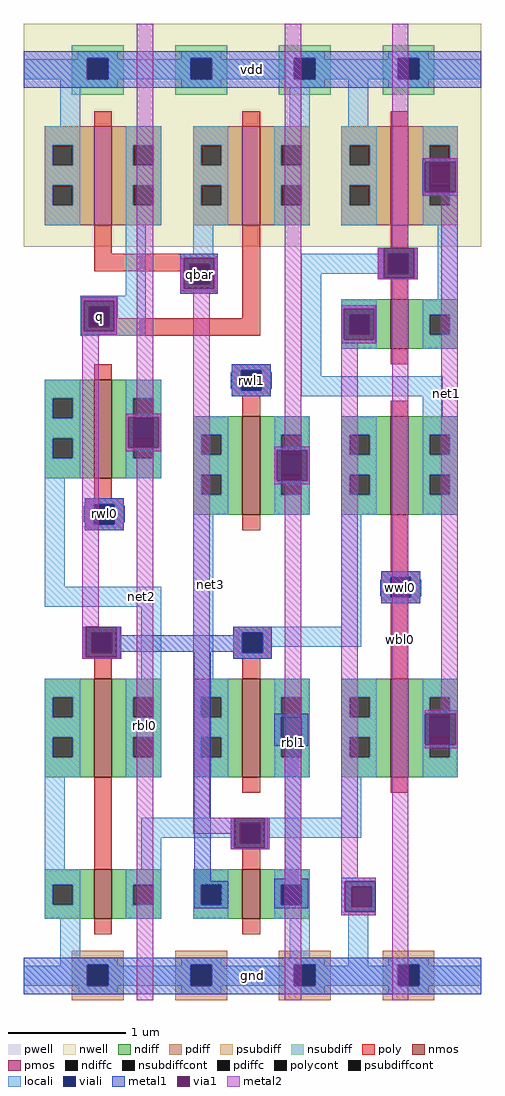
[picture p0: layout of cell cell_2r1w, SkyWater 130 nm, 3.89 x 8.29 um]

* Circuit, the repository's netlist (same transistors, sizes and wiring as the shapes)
* SPICE3 file created from cell_fast.ext - technology: sky130A

.subckt cell_2r1w rbl0 rbl1 wbl0 rwl0 rwl1 wwl0 vdd gnd
X0 rbl1 rwl1 net3 gnd sky130_fd_pr__nfet_01v8 w=0.84 l=0.15
X1 net2 q gnd gnd sky130_fd_pr__nfet_01v8 w=0.84 l=0.15
X2 q q_bar vdd vdd sky130_fd_pr__pfet_01v8 w=0.84 l=0.15
X3 q_bar q gnd gnd sky130_fd_pr__nfet_01v8 w=0.42 l=0.15
X4 rbl0 rwl0 net2 gnd sky130_fd_pr__nfet_01v8 w=0.84 l=0.15
X5 gnd q net3 gnd sky130_fd_pr__nfet_01v8 w=0.84 l=0.15
X6 vdd q q_bar vdd sky130_fd_pr__pfet_01v8 w=0.84 l=0.15
X7 gnd q_bar q gnd sky130_fd_pr__nfet_01v8 w=0.42 l=0.15
X8 net1 wbl0 gnd gnd sky130_fd_pr__nfet_01v8 w=0.42 l=0.15
X9 wbl0 wwl0 q gnd sky130_fd_pr__nfet_01v8 w=0.84 l=0.15
X10 net1 wwl0 q_bar gnd sky130_fd_pr__nfet_01v8 w=0.84 l=0.15
X11 net1 wbl0 vdd vdd sky130_fd_pr__pfet_01v8 w=0.84 l=0.15
.ends

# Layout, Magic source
magic
tech sky130A
<< nwell >>
rect 0 619 389 808
<< pwell >>
rect 41 -21 85 21
rect 129 -21 173 21
rect 217 -21 261 21
rect 305 -21 349 21
<< nmos >>
rect 312 532 327 574
rect 60 422 75 506
rect 186 391 201 475
rect 312 391 327 475
rect 60 168 75 252
rect 186 168 201 252
rect 312 168 327 252
rect 60 48 75 90
rect 186 48 201 90
<< pmos >>
rect 60 637 75 721
rect 186 637 201 721
rect 312 637 327 721
<< ndiff >>
rect 270 561 312 574
rect 270 544 277 561
rect 294 544 312 561
rect 270 532 312 544
rect 327 561 369 574
rect 327 544 345 561
rect 362 544 369 561
rect 327 532 369 544
rect 18 490 60 506
rect 18 473 25 490
rect 42 473 60 490
rect 18 456 60 473
rect 18 439 25 456
rect 42 439 60 456
rect 18 422 60 439
rect 75 490 117 506
rect 75 473 93 490
rect 110 473 117 490
rect 75 456 117 473
rect 75 439 93 456
rect 110 439 117 456
rect 75 422 117 439
rect 144 459 186 475
rect 144 442 151 459
rect 168 442 186 459
rect 144 425 186 442
rect 144 408 151 425
rect 168 408 186 425
rect 144 391 186 408
rect 201 459 243 475
rect 201 442 219 459
rect 236 442 243 459
rect 201 425 243 442
rect 201 408 219 425
rect 236 408 243 425
rect 201 391 243 408
rect 270 459 312 475
rect 270 442 277 459
rect 294 442 312 459
rect 270 425 312 442
rect 270 408 277 425
rect 294 408 312 425
rect 270 391 312 408
rect 327 459 369 475
rect 327 442 345 459
rect 362 442 369 459
rect 327 425 369 442
rect 327 408 345 425
rect 362 408 369 425
rect 327 391 369 408
rect 18 236 60 252
rect 18 219 25 236
rect 42 219 60 236
rect 18 202 60 219
rect 18 185 25 202
rect 42 185 60 202
rect 18 168 60 185
rect 75 236 117 252
rect 75 219 93 236
rect 110 219 117 236
rect 75 202 117 219
rect 75 185 93 202
rect 110 185 117 202
rect 75 168 117 185
rect 144 236 186 252
rect 144 219 151 236
rect 168 219 186 236
rect 144 202 186 219
rect 144 185 151 202
rect 168 185 186 202
rect 144 168 186 185
rect 201 236 243 252
rect 201 219 219 236
rect 236 219 243 236
rect 201 202 243 219
rect 201 185 219 202
rect 236 185 243 202
rect 201 168 243 185
rect 270 236 312 252
rect 270 219 277 236
rect 294 219 312 236
rect 270 202 312 219
rect 270 185 277 202
rect 294 185 312 202
rect 270 168 312 185
rect 327 236 369 252
rect 327 219 345 236
rect 362 219 369 236
rect 327 202 369 219
rect 327 185 345 202
rect 362 185 369 202
rect 327 168 369 185
rect 18 77 60 90
rect 18 60 25 77
rect 42 60 60 77
rect 18 48 60 60
rect 75 77 117 90
rect 75 60 93 77
rect 110 60 117 77
rect 75 48 117 60
rect 144 77 186 90
rect 144 60 151 77
rect 168 60 186 77
rect 144 48 186 60
rect 201 77 243 90
rect 201 60 219 77
rect 236 60 243 77
rect 201 48 243 60
<< pdiff >>
rect 18 705 60 721
rect 18 688 25 705
rect 42 688 60 705
rect 18 671 60 688
rect 18 654 25 671
rect 42 654 60 671
rect 18 637 60 654
rect 75 705 117 721
rect 75 688 93 705
rect 110 688 117 705
rect 75 671 117 688
rect 75 654 93 671
rect 110 654 117 671
rect 75 637 117 654
rect 144 705 186 721
rect 144 688 151 705
rect 168 688 186 705
rect 144 671 186 688
rect 144 654 151 671
rect 168 654 186 671
rect 144 637 186 654
rect 201 705 243 721
rect 201 688 219 705
rect 236 688 243 705
rect 201 671 243 688
rect 201 654 219 671
rect 236 654 243 671
rect 201 637 243 654
rect 270 705 312 721
rect 270 688 277 705
rect 294 688 312 705
rect 270 671 312 688
rect 270 654 277 671
rect 294 654 312 671
rect 270 637 312 654
rect 327 705 369 721
rect 327 688 345 705
rect 362 688 369 705
rect 327 671 369 688
rect 327 654 345 671
rect 362 654 369 671
rect 327 637 369 654
<< ndiffc >>
rect 277 544 294 561
rect 345 544 362 561
rect 25 473 42 490
rect 25 439 42 456
rect 93 473 110 490
rect 93 439 110 456
rect 151 442 168 459
rect 151 408 168 425
rect 219 442 236 459
rect 219 408 236 425
rect 277 442 294 459
rect 277 408 294 425
rect 345 442 362 459
rect 345 408 362 425
rect 25 219 42 236
rect 25 185 42 202
rect 93 219 110 236
rect 93 185 110 202
rect 151 219 168 236
rect 151 185 168 202
rect 219 219 236 236
rect 219 185 236 202
rect 277 219 294 236
rect 277 185 294 202
rect 345 219 362 236
rect 345 185 362 202
rect 25 60 42 77
rect 93 60 110 77
rect 151 60 168 77
rect 219 60 236 77
<< pdiffc >>
rect 25 688 42 705
rect 25 654 42 671
rect 93 688 110 705
rect 93 654 110 671
rect 151 688 168 705
rect 151 654 168 671
rect 219 688 236 705
rect 219 654 236 671
rect 277 688 294 705
rect 277 654 294 671
rect 345 688 362 705
rect 345 654 362 671
<< psubdiff >>
rect 41 9 85 21
rect 41 -9 54 9
rect 72 -9 85 9
rect 41 -21 85 -9
rect 129 9 173 21
rect 129 -9 142 9
rect 160 -9 173 9
rect 129 -21 173 -9
rect 217 9 261 21
rect 217 -9 230 9
rect 248 -9 261 9
rect 217 -21 261 -9
rect 305 9 349 21
rect 305 -9 318 9
rect 336 -9 349 9
rect 305 -21 349 -9
<< nsubdiff >>
rect 41 779 85 790
rect 41 761 54 779
rect 72 761 85 779
rect 41 748 85 761
rect 129 779 173 790
rect 129 761 142 779
rect 160 761 173 779
rect 129 748 173 761
rect 217 779 261 790
rect 217 761 230 779
rect 248 761 261 779
rect 217 748 261 761
rect 305 779 349 790
rect 305 761 318 779
rect 336 761 349 779
rect 305 748 349 761
<< psubdiffcont >>
rect 54 -9 72 9
rect 142 -9 160 9
rect 230 -9 248 9
rect 318 -9 336 9
<< nsubdiffcont >>
rect 54 761 72 779
rect 142 761 160 779
rect 230 761 248 779
rect 318 761 336 779
<< poly >>
rect 60 721 75 734
rect 186 721 201 734
rect 312 721 327 734
rect 60 613 75 637
rect 60 604 165 613
rect 60 598 141 604
rect 133 587 141 598
rect 158 587 165 604
rect 133 579 165 587
rect 48 568 80 577
rect 48 551 56 568
rect 73 558 80 568
rect 186 558 201 637
rect 312 618 327 637
rect 301 613 335 618
rect 301 596 310 613
rect 327 596 335 613
rect 301 591 335 596
rect 312 574 327 591
rect 73 551 201 558
rect 48 543 201 551
rect 312 519 327 532
rect 60 506 75 519
rect 177 514 210 519
rect 177 497 185 514
rect 202 497 210 514
rect 177 492 210 497
rect 186 475 201 492
rect 312 475 327 488
rect 60 405 75 422
rect 52 400 85 405
rect 52 383 60 400
rect 77 383 85 400
rect 52 378 85 383
rect 186 378 201 391
rect 312 343 327 391
rect 304 338 337 343
rect 304 321 312 338
rect 329 321 337 338
rect 304 316 337 321
rect 50 291 83 296
rect 50 274 58 291
rect 75 274 83 291
rect 50 269 83 274
rect 178 291 211 296
rect 178 274 186 291
rect 203 274 211 291
rect 178 269 211 274
rect 60 252 75 269
rect 186 252 201 269
rect 312 252 327 316
rect 60 90 75 168
rect 186 155 201 168
rect 312 155 327 168
rect 176 129 209 134
rect 176 112 184 129
rect 201 112 209 129
rect 176 107 209 112
rect 186 90 201 107
rect 60 35 75 48
rect 186 35 201 48
<< polycont >>
rect 141 587 158 604
rect 56 551 73 568
rect 310 596 327 613
rect 185 497 202 514
rect 60 383 77 400
rect 312 321 329 338
rect 58 274 75 291
rect 186 274 203 291
rect 184 112 201 129
<< locali >>
rect 46 779 80 785
rect 46 778 54 779
rect 0 761 54 778
rect 72 778 80 779
rect 134 779 168 785
rect 134 778 142 779
rect 72 761 142 778
rect 160 778 168 779
rect 222 779 256 785
rect 222 778 230 779
rect 160 761 230 778
rect 248 778 256 779
rect 310 779 344 785
rect 310 778 318 779
rect 248 761 318 778
rect 336 778 344 779
rect 336 761 389 778
rect 31 754 80 761
rect 134 754 168 761
rect 222 754 256 761
rect 31 721 48 754
rect 226 721 243 754
rect 276 721 293 761
rect 310 754 344 761
rect 18 705 48 721
rect 18 688 25 705
rect 42 688 48 705
rect 18 671 48 688
rect 18 654 25 671
rect 42 654 48 671
rect 18 637 48 654
rect 87 705 117 721
rect 87 688 93 705
rect 110 688 117 705
rect 87 671 117 688
rect 87 654 93 671
rect 110 654 117 671
rect 87 637 117 654
rect 144 705 174 721
rect 144 688 151 705
rect 168 688 174 705
rect 144 671 174 688
rect 144 654 151 671
rect 168 654 174 671
rect 144 637 174 654
rect 213 705 243 721
rect 213 688 219 705
rect 236 688 243 705
rect 213 671 243 688
rect 213 654 219 671
rect 236 654 243 671
rect 213 637 243 654
rect 270 705 300 721
rect 270 688 277 705
rect 294 688 300 705
rect 270 671 300 688
rect 270 654 277 671
rect 294 654 300 671
rect 270 637 300 654
rect 339 705 369 721
rect 339 654 345 705
rect 362 654 369 705
rect 339 637 369 654
rect 87 577 104 637
rect 144 613 161 637
rect 301 613 335 618
rect 133 604 165 613
rect 133 587 141 604
rect 158 587 165 604
rect 133 579 165 587
rect 236 596 310 613
rect 327 596 335 613
rect 48 568 104 577
rect 48 551 56 568
rect 73 551 104 568
rect 48 543 104 551
rect 177 514 210 519
rect 18 490 48 506
rect 18 473 25 490
rect 42 473 48 490
rect 18 456 48 473
rect 18 439 25 456
rect 42 439 48 456
rect 18 422 48 439
rect 87 490 117 506
rect 177 497 185 514
rect 202 497 210 514
rect 177 492 210 497
rect 236 509 253 596
rect 301 591 335 596
rect 352 574 369 637
rect 270 561 300 574
rect 270 544 277 561
rect 294 544 300 561
rect 270 532 300 544
rect 339 561 369 574
rect 339 544 345 561
rect 362 544 369 561
rect 339 532 369 544
rect 236 492 356 509
rect 87 439 93 490
rect 110 439 117 490
rect 339 475 356 492
rect 87 422 117 439
rect 144 459 174 475
rect 144 442 151 459
rect 168 442 174 459
rect 144 425 174 442
rect 18 330 35 422
rect 144 408 151 425
rect 168 408 174 425
rect 52 400 85 405
rect 52 383 60 400
rect 77 383 85 400
rect 52 378 85 383
rect 144 391 174 408
rect 213 459 243 475
rect 213 408 219 459
rect 236 408 243 459
rect 213 391 243 408
rect 270 459 300 475
rect 270 442 277 459
rect 294 442 300 459
rect 270 425 300 442
rect 270 408 277 425
rect 294 408 300 425
rect 270 391 300 408
rect 339 459 369 475
rect 339 442 345 459
rect 362 442 369 459
rect 339 425 369 442
rect 339 408 345 425
rect 362 408 369 425
rect 339 391 369 408
rect 18 313 117 330
rect 50 291 83 296
rect 50 274 58 291
rect 75 274 83 291
rect 50 269 83 274
rect 100 252 117 313
rect 18 236 48 252
rect 18 219 25 236
rect 42 219 48 236
rect 18 202 48 219
rect 18 185 25 202
rect 42 185 48 202
rect 18 168 48 185
rect 87 236 117 252
rect 87 219 93 236
rect 110 219 117 236
rect 87 202 117 219
rect 87 185 93 202
rect 110 185 117 202
rect 87 168 117 185
rect 144 252 161 391
rect 270 296 287 391
rect 304 338 337 343
rect 304 321 312 338
rect 329 321 337 338
rect 304 316 337 321
rect 178 291 287 296
rect 178 274 186 291
rect 203 279 287 291
rect 203 274 211 279
rect 178 269 211 274
rect 144 236 174 252
rect 144 219 151 236
rect 168 219 174 236
rect 144 202 174 219
rect 144 185 151 202
rect 168 185 174 202
rect 144 168 174 185
rect 213 236 243 252
rect 213 185 219 236
rect 236 185 243 236
rect 213 168 243 185
rect 270 236 300 252
rect 270 219 277 236
rect 294 219 300 236
rect 270 202 300 219
rect 270 185 277 202
rect 294 185 300 202
rect 270 168 300 185
rect 339 236 369 252
rect 339 185 345 236
rect 362 185 369 236
rect 339 168 369 185
rect 18 90 35 168
rect 270 134 287 168
rect 100 129 287 134
rect 100 117 184 129
rect 100 90 117 117
rect 176 112 184 117
rect 201 117 287 129
rect 201 112 209 117
rect 176 107 209 112
rect 18 77 48 90
rect 18 60 25 77
rect 42 60 48 77
rect 18 48 48 60
rect 87 77 117 90
rect 87 60 93 77
rect 110 60 117 77
rect 87 48 117 60
rect 144 77 174 90
rect 144 60 151 77
rect 168 60 174 77
rect 144 48 174 60
rect 213 77 243 90
rect 213 60 219 77
rect 236 60 243 77
rect 213 48 243 60
rect 273 75 299 80
rect 273 58 279 75
rect 296 58 299 75
rect 273 54 299 58
rect 31 15 48 48
rect 226 15 243 48
rect 31 9 80 15
rect 31 8 54 9
rect 0 -9 54 8
rect 72 8 80 9
rect 134 9 168 15
rect 134 8 142 9
rect 72 -9 142 8
rect 160 8 168 9
rect 222 9 256 15
rect 222 8 230 9
rect 160 -9 230 8
rect 248 8 256 9
rect 276 8 293 54
rect 310 9 344 15
rect 310 8 318 9
rect 248 -9 318 8
rect 336 8 344 9
rect 336 -9 389 8
rect 47 -16 80 -9
rect 134 -16 168 -9
rect 222 -16 256 -9
rect 310 -16 344 -9
<< viali >>
rect 54 761 72 779
rect 142 761 160 779
rect 230 761 248 779
rect 318 761 336 779
rect 345 671 362 688
rect 141 587 158 604
rect 310 596 327 613
rect 56 551 73 568
rect 185 497 202 514
rect 277 544 294 561
rect 93 456 110 473
rect 60 383 77 400
rect 219 425 236 442
rect 58 274 75 291
rect 312 321 329 338
rect 186 274 203 291
rect 219 202 236 219
rect 345 202 362 219
rect 184 112 201 129
rect 151 60 168 77
rect 219 60 236 77
rect 279 58 296 75
rect 54 -9 72 9
rect 142 -9 160 9
rect 230 -9 248 9
rect 318 -9 336 9
<< metal1 >>
rect 0 779 389 785
rect 0 761 54 779
rect 72 761 142 779
rect 160 761 230 779
rect 248 761 318 779
rect 336 761 389 779
rect 0 754 389 761
rect 339 691 369 694
rect 339 665 341 691
rect 367 665 369 691
rect 339 662 369 665
rect 133 609 165 613
rect 133 583 136 609
rect 162 583 165 609
rect 301 592 306 618
rect 332 592 335 618
rect 301 591 335 592
rect 133 579 165 583
rect 49 573 79 576
rect 49 547 51 573
rect 77 547 79 573
rect 49 544 79 547
rect 270 566 299 569
rect 270 540 272 566
rect 298 540 299 566
rect 270 537 299 540
rect 177 514 210 519
rect 177 512 185 514
rect 176 498 185 512
rect 177 497 185 498
rect 202 512 210 514
rect 202 498 211 512
rect 202 497 210 498
rect 177 492 210 497
rect 87 474 117 477
rect 87 448 89 474
rect 115 448 117 474
rect 87 445 117 448
rect 213 446 243 449
rect 213 420 215 446
rect 241 420 243 446
rect 213 417 243 420
rect 52 400 85 405
rect 52 399 60 400
rect 51 385 60 399
rect 52 383 60 385
rect 77 399 85 400
rect 77 385 86 399
rect 77 383 85 385
rect 52 378 85 383
rect 304 338 337 343
rect 304 336 312 338
rect 303 322 312 336
rect 304 321 312 322
rect 329 336 337 338
rect 329 322 338 336
rect 329 321 337 322
rect 304 316 337 321
rect 50 270 53 296
rect 79 289 83 296
rect 178 291 211 296
rect 178 289 186 291
rect 79 275 186 289
rect 79 270 83 275
rect 50 269 83 270
rect 145 80 159 275
rect 178 274 186 275
rect 203 274 211 291
rect 178 269 211 274
rect 341 222 369 225
rect 213 219 242 222
rect 213 202 219 219
rect 236 202 242 219
rect 213 195 242 202
rect 367 196 369 222
rect 176 108 179 134
rect 205 108 208 134
rect 176 107 208 108
rect 222 82 236 195
rect 341 193 369 196
rect 145 77 174 80
rect 145 60 151 77
rect 168 60 174 77
rect 145 57 174 60
rect 213 77 242 82
rect 213 60 219 77
rect 236 60 242 77
rect 213 57 242 60
rect 270 80 299 83
rect 270 54 273 80
rect 270 51 299 54
rect 0 9 389 15
rect 0 -9 54 9
rect 72 -9 142 9
rect 160 -9 230 9
rect 248 -9 318 9
rect 336 -9 389 9
rect 0 -16 389 -9
<< via1 >>
rect 341 688 367 691
rect 341 671 345 688
rect 345 671 362 688
rect 362 671 367 688
rect 341 665 367 671
rect 136 604 162 609
rect 136 587 141 604
rect 141 587 158 604
rect 158 587 162 604
rect 136 583 162 587
rect 306 613 332 618
rect 306 596 310 613
rect 310 596 327 613
rect 327 596 332 613
rect 306 592 332 596
rect 51 568 77 573
rect 51 551 56 568
rect 56 551 73 568
rect 73 551 77 568
rect 51 547 77 551
rect 272 561 298 566
rect 272 544 277 561
rect 277 544 294 561
rect 294 544 298 561
rect 272 540 298 544
rect 89 473 115 474
rect 89 456 93 473
rect 93 456 110 473
rect 110 456 115 473
rect 89 448 115 456
rect 215 442 241 446
rect 215 425 219 442
rect 219 425 236 442
rect 236 425 241 442
rect 215 420 241 425
rect 53 291 79 296
rect 53 274 58 291
rect 58 274 75 291
rect 75 274 79 291
rect 53 270 79 274
rect 341 219 367 222
rect 341 202 345 219
rect 345 202 362 219
rect 362 202 367 219
rect 341 196 367 202
rect 179 129 205 134
rect 179 112 184 129
rect 184 112 201 129
rect 201 112 205 129
rect 179 108 205 112
rect 273 75 299 80
rect 273 58 279 75
rect 279 58 296 75
rect 296 58 299 75
rect 273 54 299 58
<< metal2 >>
rect 49 573 79 576
rect 49 547 51 573
rect 77 547 79 573
rect 49 544 79 547
rect 50 296 64 544
rect 96 477 110 808
rect 133 583 136 609
rect 162 583 165 609
rect 133 581 165 583
rect 87 474 117 477
rect 87 448 89 474
rect 115 448 117 474
rect 87 445 117 448
rect 50 270 53 296
rect 79 270 82 296
rect 50 269 82 270
rect 96 -21 110 445
rect 144 134 158 581
rect 222 449 236 808
rect 313 618 327 808
rect 341 691 369 694
rect 367 665 369 691
rect 341 662 369 665
rect 301 592 306 618
rect 332 592 335 618
rect 301 591 335 592
rect 270 566 299 569
rect 270 540 272 566
rect 298 540 299 566
rect 270 537 299 540
rect 213 446 243 449
rect 213 420 215 446
rect 241 420 243 446
rect 213 417 243 420
rect 144 120 179 134
rect 176 108 179 120
rect 205 108 208 134
rect 176 107 208 108
rect 222 -21 236 417
rect 270 83 284 537
rect 270 80 299 83
rect 270 54 273 80
rect 270 51 299 54
rect 313 -21 327 591
rect 355 225 369 662
rect 341 222 369 225
rect 367 196 369 222
rect 341 193 369 196
<< labels >>
rlabel metal2 s 141 587 158 604 4 qbar
rlabel metal2 s 359 494 359 494 4 net1
rlabel locali s 100 322 100 322 4 net2
rlabel locali s 159 332 159 332 4 net3
rlabel metal2 s 56 551 73 568 4 q
rlabel metal1 s 0 754 389 785 4 vdd
port 1 nsew
rlabel metal1 s 0 -16 389 15 4 gnd
port 2 nsew
rlabel metal2 s 96 -21 110 445 4 rbl0
port 3 nsew
rlabel metal2 s 222 -21 236 417 4 rbl1
port 4 nsew
rlabel metal2 s 313 -21 327 591 4 wbl0
port 5 nsew
rlabel metal1 s 303 322 338 336 4 wwl0
port 6 nsew
rlabel metal1 s 176 498 211 512 4 rwl1
port 7 nsew
rlabel metal1 s 51 385 86 399 4 rwl0
port 8 nsew
rlabel metal2 s 103 212 103 212 4 rbl0
rlabel metal2 s 229 198 229 198 4 rbl1
rlabel metal2 s 320 285 320 285 4 wbl0
rlabel metal1 s 68 392 68 392 4 rwl0
rlabel metal1 s 193 505 193 505 4 rwl1
rlabel metal1 s 320 329 320 329 4 wwl0
rlabel metal1 s 194 769 194 769 4 vdd
rlabel metal1 s 194 0 194 0 4 gnd
<< properties >>
string FIXED_BBOX 0 0 778 1540
string GDS_FILE sram_0rw2r1w_2_16_sky130A.gds
string GDS_END 236534
string GDS_START 215730
<< end >>
